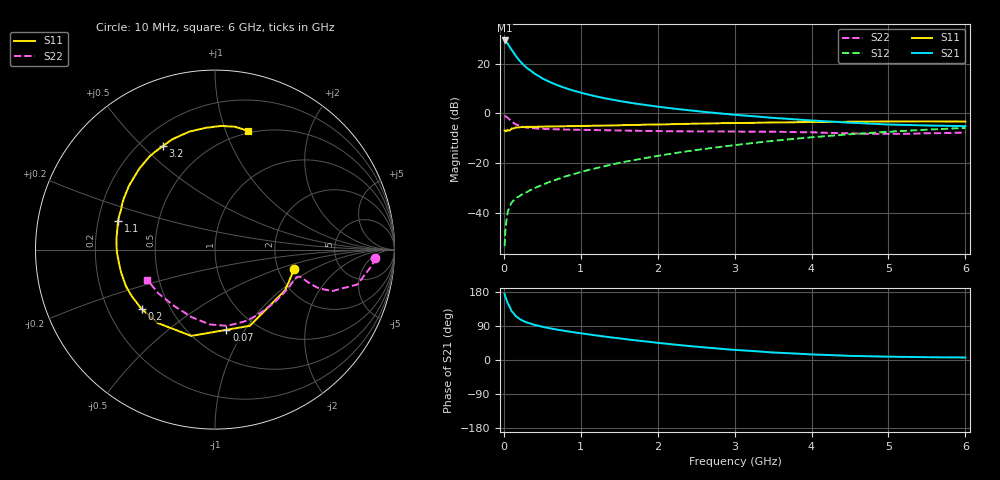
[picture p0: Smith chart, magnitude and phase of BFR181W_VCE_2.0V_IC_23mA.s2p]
! Infineon Technologies  Discrete & RF Semiconductors
! BFR181W
! VCE =  2.0 V,  IC =  23 mA
! Common Emitter S-Parameters:  Jan 2017
# GHz  S  MA  R  50
!  f  S11  S21  S12  S22
! GHz  MAG  ANG  MAG  ANG  MAG  ANG  MAG  ANG
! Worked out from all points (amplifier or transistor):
!   77 points, 10 MHz to 6 GHz, reference 50 ohm
!   highest |S21| = 29.5 dB at 10 MHz (marker M1)
!   |S21| within 3 dB of that: start of sweep to 84.94 MHz
!   unconditionally stable (mu >= 1): start of sweep to 12.93 MHz; 267.9 MHz to 3.24 GHz; 4.614 GHz to end of sweep
!   at 130 MHz: K = 0.65, MSG = 29.7 dB, |S12| = -35.0 dB
!   at 2.2 GHz: K = 1.16, MAG = 6.6 dB, |S12| = -16.1 dB
!   at 6 GHz: K = 1.07, MAG = -1.3 dB, |S12| = -5.8 dB
!   S11 on the Smith chart (normalised r, x): 10 MHz: 2.45, -0.68; 70 MHz: 0.74, -0.83; 200 MHz: 0.35, -0.32; 1.1 GHz: 0.28, +0.13; 3.2 GHz: 0.29, +0.58; 6 GHz: 0.48, +1.20
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0.01  0.4547 -14.0  29.71 174.0  0.0021 83.0  0.8952 -2.9
0.02  0.4511 -30.0  29.13 166.8  0.0043 84.9  0.8791 -5.8
0.05  0.4668 -65.4  25.74 149.5  0.0103 65.2  0.8162 -13.8
0.07  0.4515 -81.9  22.89 142.6  0.0125 62.0  0.765 -15.9
0.1  0.4988 -105.4  19.45 128.9  0.0158 58.8  0.6905 -19.6
0.15  0.5187 -127.9  14.88 117.0  0.0192 54.9  0.6098 -20.4
0.2  0.5261 -141.1  11.81 108.8  0.0213 54.5  0.5639 -19.7
0.25  0.5313 -150.6  9.751 103.2  0.0241 55.7  0.5375 -19.0
0.3  0.5363 -157.4  8.266 98.9  0.026 56.9  0.5188 -18.3
0.4  0.5386 -166.5  6.34 92.5  0.0313 62.3  0.4994 -17.7
0.5  0.5412 -173.4  5.111 87.7  0.0361 64.1  0.4897 -18.0
0.6  0.5466 -178.6  4.294 83.6  0.042 67.7  0.4824 -18.5
0.7  0.5494 177.2  3.698 80.0  0.0472 70.4  0.4778 -19.4
0.9  0.5543 169.7  2.9 73.4  0.0592 72.9  0.4707 -22.0
1.1  0.563 163.6  2.399 67.7  0.0723 75.3  0.4648 -25.1
1.5  0.5777 153.1  1.789 57.1  0.1003 76.7  0.4529 -32.4
2.1  0.6033 139.0  1.314 43.2  0.1477 75.9  0.4386 -46.0
3.1  0.6423 118.8  0.915 25.4  0.2393 69.3  0.4301 -71.2
3.2  0.6453 116.9  0.889 24.1  0.2492 68.4  0.4289 -73.7
4.1  0.6733 100.5  0.707 14.0  0.3401 58.9  0.4117 -96.9
5.1  0.6899 85.9  0.594 8.5  0.4356 46.6  0.3873 -129.3
6  0.6863 74.5  0.554 6.6  0.5112 35.2  0.4127 -155.7
